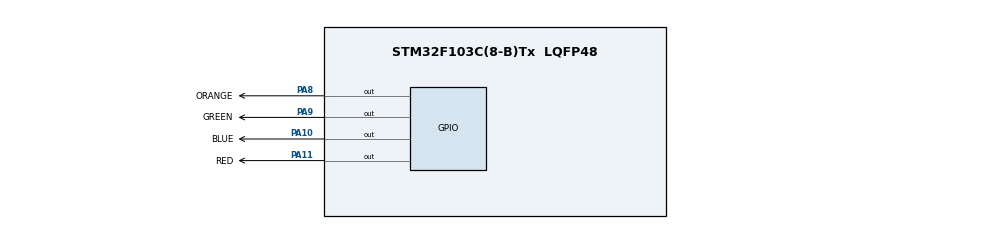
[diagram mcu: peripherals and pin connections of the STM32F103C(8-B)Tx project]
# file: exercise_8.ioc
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FREERTOS.BinarySemaphores01=CriticalResourceSemaphore,Dynamic,NULL,Available
FREERTOS.Tasks01=defaultTask,0,128,StartDefaultTask,Default,NULL,Dynamic,NULL,NULL;greenLEDTask,0,128,greenLED,Default,NULL,Dynamic,NULL,NULL;redLEDTask,0,128,redLED,Default,NULL,Dynamic,NULL,NULL;orangeLEDTask,1,128,orangeLED,Default,NULL,Dynamic,NULL,NULL
FREERTOS.configUSE_NEWLIB_REENTRANT=1
Mcu.Family=STM32F1
Mcu.Name=STM32F103C(8-B)Tx
Mcu.Package=LQFP48
NVIC.PriorityGroup=NVIC_PRIORITYGROUP_4
NVIC.TIM4_IRQn=true\:15\:0\:false\:false\:true\:false\:false\:true\:true
NVIC.TimeBase=TIM4_IRQn
NVIC.TimeBaseIP=TIM4
PA10.GPIO_Label=BLUE
PA10.Signal=GPIO_Output
PA11.GPIO_Label=RED
PA11.Signal=GPIO_Output
PA13.Mode=Serial_Wire
PA13.Signal=SYS_JTMS-SWDIO
PA14.Mode=Serial_Wire
PA14.Signal=SYS_JTCK-SWCLK
PA8.GPIO_Label=ORANGE
PA8.Signal=GPIO_Output
PA9.GPIO_Label=GREEN
PA9.Signal=GPIO_Output
ProjectManager.HeapSize=0x200
ProjectManager.StackSize=0x400
ProjectManager.TargetToolchain=STM32CubeIDE
RCC.APB1Freq_Value=8000000
RCC.APB2Freq_Value=8000000
VP_FREERTOS_VS_CMSIS_V1.Mode=CMSIS_V1
VP_SYS_VS_tim4.Mode=TIM4
board=custom

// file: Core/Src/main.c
/* USER CODE BEGIN Header */
/**
  ******************************************************************************
  * @file           : main.c
  * @brief          : Main program body
  ******************************************************************************
  * @attention
  *
  * Copyright (c) 2024 STMicroelectronics.
  * All rights reserved.
  *
  * This software is licensed under terms that can be found in the LICENSE file
  * in the root directory of this software component.
  * If no LICENSE file comes with this software, it is provided AS-IS.
  *
  ******************************************************************************
  */
/* USER CODE END Header */
#include "main.h"
#include "cmsis_os.h"

osThreadId defaultTaskHandle;
osThreadId greenLEDTaskHandle;
osThreadId redLEDTaskHandle;
osThreadId orangeLEDTaskHandle;
osSemaphoreId CriticalResourceSemaphoreHandle;
/* USER CODE BEGIN PV */
uint8_t StartFlag = 1;
uint16_t WaitTimeMilliseconds = 0;
/* USER CODE END PV */

void SystemClock_Config(void);
static void MX_GPIO_Init(void);
void StartDefaultTask(void const * argument);
void greenLED(void const * argument);
void redLED(void const * argument);
void orangeLED(void const * argument);

/* USER CODE BEGIN 0 */
void AccessSharedData() {
        if (StartFlag == 1) {
            StartFlag = 0;  // Set Start flag ke Down
        } else {
            HAL_GPIO_WritePin(GPIOA, GPIO_PIN_10, GPIO_PIN_SET);  // Nyalakan Blue LED
        }

        // Langkah 2: Simulasi operasi baca/tulis selama satu detik
        //SimulateReadWriteOperation();
        HAL_Delay(1000);

        StartFlag = 1;
        // Langkah 3: Matikan Blue LED (opsional, jika kita ingin LED mati setelah kontensi)
        HAL_GPIO_WritePin(GPIOA, GPIO_PIN_10, GPIO_PIN_RESET);

        // Langkah 4: Set Start flag ke Up
}

void SimulateReadWriteOperation(void) {
    volatile uint32_t delay_count = 0;
    const uint32_t delay_target = 2000000; // Adjust this value to approximate 1000 ms

    // Dummy loop to simulate processing time
    for (delay_count = 0; delay_count < delay_target; delay_count++) {
        __asm("nop"); // No Operation: Keeps the processor busy without changing code behavior
    }
}
/* USER CODE END 0 */

int main(void)
{

  /* MCU Configuration--------------------------------------------------------*/

  /* Reset of all peripherals, Initializes the Flash interface and the Systick. */
  HAL_Init();

  /* Configure the system clock */
  SystemClock_Config();

  /* Initialize all configured peripherals */
  MX_GPIO_Init();

  /* Create the semaphores(s) */
  /* definition and creation of CriticalResourceSemaphore */
  osSemaphoreDef(CriticalResourceSemaphore);
  CriticalResourceSemaphoreHandle = osSemaphoreCreate(osSemaphore(CriticalResourceSemaphore), 1);

  /* Create the thread(s) */
  /* definition and creation of defaultTask */
  osThreadDef(defaultTask, StartDefaultTask, osPriorityNormal, 0, 128);
  defaultTaskHandle = osThreadCreate(osThread(defaultTask), NULL);

  /* definition and creation of greenLEDTask */
  osThreadDef(greenLEDTask, greenLED, osPriorityNormal, 0, 128);
  greenLEDTaskHandle = osThreadCreate(osThread(greenLEDTask), NULL);

  /* definition and creation of redLEDTask */
  osThreadDef(redLEDTask, redLED, osPriorityNormal, 0, 128);
  redLEDTaskHandle = osThreadCreate(osThread(redLEDTask), NULL);

  /* definition and creation of orangeLEDTask */
  osThreadDef(orangeLEDTask, orangeLED, osPriorityAboveNormal, 0, 128);
  orangeLEDTaskHandle = osThreadCreate(osThread(orangeLEDTask), NULL);

  /* Start scheduler */
  osKernelStart();

  /* We should never get here as control is now taken by the scheduler */

  /* Infinite loop */
  while (1)
  {

  }
}

void SystemClock_Config(void)
{
  RCC_OscInitTypeDef RCC_OscInitStruct = {0};
  RCC_ClkInitTypeDef RCC_ClkInitStruct = {0};

  /** Initializes the RCC Oscillators according to the specified parameters
  * in the RCC_OscInitTypeDef structure.
  */
  RCC_OscInitStruct.OscillatorType = RCC_OSCILLATORTYPE_HSI;
  RCC_OscInitStruct.HSIState = RCC_HSI_ON;
  RCC_OscInitStruct.HSICalibrationValue = RCC_HSICALIBRATION_DEFAULT;
  RCC_OscInitStruct.PLL.PLLState = RCC_PLL_NONE;
  if (HAL_RCC_OscConfig(&RCC_OscInitStruct) != HAL_OK)
  {
    Error_Handler();
  }

  /** Initializes the CPU, AHB and APB buses clocks
  */
  RCC_ClkInitStruct.ClockType = RCC_CLOCKTYPE_HCLK|RCC_CLOCKTYPE_SYSCLK
                              |RCC_CLOCKTYPE_PCLK1|RCC_CLOCKTYPE_PCLK2;
  RCC_ClkInitStruct.SYSCLKSource = RCC_SYSCLKSOURCE_HSI;
  RCC_ClkInitStruct.AHBCLKDivider = RCC_SYSCLK_DIV1;
  RCC_ClkInitStruct.APB1CLKDivider = RCC_HCLK_DIV1;
  RCC_ClkInitStruct.APB2CLKDivider = RCC_HCLK_DIV1;

  if (HAL_RCC_ClockConfig(&RCC_ClkInitStruct, FLASH_LATENCY_0) != HAL_OK)
  {
    Error_Handler();
  }
}

static void MX_GPIO_Init(void)
{
  GPIO_InitTypeDef GPIO_InitStruct = {0};

  /* GPIO Ports Clock Enable */
  __HAL_RCC_GPIOA_CLK_ENABLE();

  /*Configure GPIO pin Output Level */
  HAL_GPIO_WritePin(GPIOA, ORANGE_Pin|GREEN_Pin|BLUE_Pin|RED_Pin, GPIO_PIN_RESET);

  /*Configure GPIO pins : ORANGE_Pin GREEN_Pin BLUE_Pin RED_Pin */
  GPIO_InitStruct.Pin = ORANGE_Pin|GREEN_Pin|BLUE_Pin|RED_Pin;
  GPIO_InitStruct.Mode = GPIO_MODE_OUTPUT_PP;
  GPIO_InitStruct.Pull = GPIO_NOPULL;
  GPIO_InitStruct.Speed = GPIO_SPEED_FREQ_LOW;
  HAL_GPIO_Init(GPIOA, &GPIO_InitStruct);

}

void StartDefaultTask(void const * argument)
{
  for(;;)
  {
    osDelay(1);
  }
}

void greenLED(void const * argument)
{
  /* USER CODE BEGIN greenLED */
  /* Infinite loop */
	for(;;)
		{
		    HAL_GPIO_WritePin(GPIOA, GPIO_PIN_9, GPIO_PIN_SET);  // Nyalakan LED Hijau
		    osSemaphoreWait(CriticalResourceSemaphoreHandle, WaitTimeMilliseconds);
		    AccessSharedData();
		    osSemaphoreRelease (CriticalResourceSemaphoreHandle);
		    osDelay(200);
		    HAL_GPIO_WritePin(GPIOA, GPIO_PIN_9, GPIO_PIN_RESET);  // Matikan LED Hijau
		    osDelay(200);
		}
  /* USER CODE END greenLED */
}

void redLED(void const * argument)
{
  /* USER CODE BEGIN redLED */
  /* Infinite loop */
	for(;;)
		{
		    HAL_GPIO_WritePin(GPIOA, GPIO_PIN_11, GPIO_PIN_SET);  // Nyalakan LED Merah
		    osSemaphoreWait(CriticalResourceSemaphoreHandle, WaitTimeMilliseconds);
		    AccessSharedData();
		    osSemaphoreRelease (CriticalResourceSemaphoreHandle);
		    osDelay(550);
		    HAL_GPIO_WritePin(GPIOA, GPIO_PIN_11, GPIO_PIN_RESET);  // Matikan LED Merah
		    osDelay(550);
		}
  /* USER CODE END redLED */
}

void orangeLED(void const * argument)
{
  /* USER CODE BEGIN orangeLED */
  /* Infinite loop */
	  for(;;)
	  {
		  HAL_GPIO_TogglePin(GPIOA, GPIO_PIN_8);
		  osDelay(50);
	  }
  /* USER CODE END orangeLED */
}

void HAL_TIM_PeriodElapsedCallback(TIM_HandleTypeDef *htim)
{
  if (htim->Instance == TIM4) {
    HAL_IncTick();
  }
}

void Error_Handler(void)
{
  __disable_irq();
  while (1)
  {
  }
}
